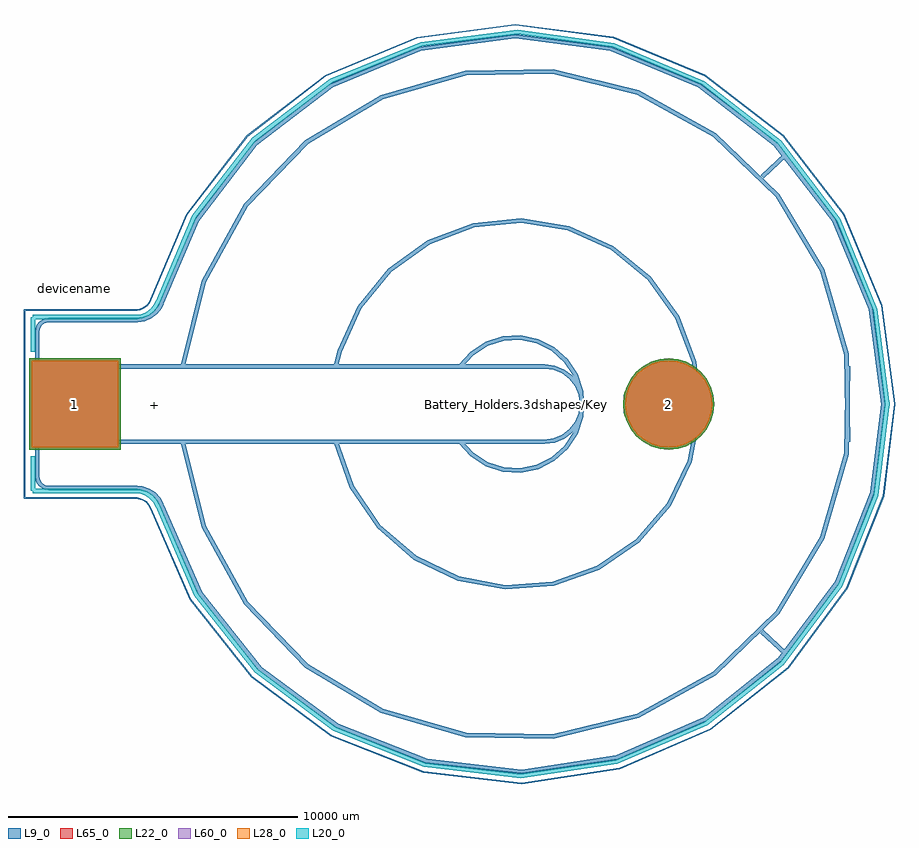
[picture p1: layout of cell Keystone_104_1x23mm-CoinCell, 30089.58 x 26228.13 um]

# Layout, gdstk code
import gdstk
lib = gdstk.Library(unit=1e-6, precision=1e-09)
def R(c, l, rs):  # rectangles x0, y0, x1, y1
    for r in rs: c.add(gdstk.rectangle(r[:2], r[2:], *l))
def P(c, l, *ps):  # polygons
    for p in ps: c.add(gdstk.Polygon(p, *l))
L9_0 = (9, 0)
L20_0 = (20, 0)
L22_0 = (22, 0)
L28_0 = (28, 0)
L60_0 = (60, 0)
L65_0 = (65, 0)

keystone_104_1x23mm_coin = lib.new_cell('Keystone_104_1x23mm-CoinCell')
R(keystone_104_1x23mm_coin, L22_0, [(-1575,-1575,1575,1575)])
P(keystone_104_1x23mm_coin, L22_0, [(22065,0),(22034.737,307.267),(21945.11,602.726),(21799.565,875.023),(21603.693,1113.693),(21365.023,1309.565),(21092.726,1455.11),(20797.267,1544.737),(20490,1575),(20182.733,1544.737),(19887.274,1455.11),(19614.977,1309.565),(19376.307,1113.693),(19180.435,875.023),(19034.89,602.726),(18945.263,307.267),(18915,0),(18945.263,-307.267),(19034.89,-602.726),(19180.435,-875.023),(19376.307,-1113.693),(19614.977,-1309.565),(19887.274,-1455.11),(20182.733,-1544.737),(20490,-1575),(20797.267,-1544.737),(21092.726,-1455.11),(21365.023,-1309.565),(21603.693,-1113.693),(21799.565,-875.023),(21945.11,-602.726),(22034.737,-307.267)])
R(keystone_104_1x23mm_coin, L28_0, [(-1500,-1500,1500,1500)])
P(keystone_104_1x23mm_coin, L28_0, [(21990,0),(21961.178,292.635),(21875.819,574.025),(21737.204,833.355),(21550.66,1060.66),(21323.355,1247.204),(21064.025,1385.819),(20782.635,1471.178),(20490,1500),(20197.365,1471.178),(19915.975,1385.819),(19656.645,1247.204),(19429.34,1060.66),(19242.796,833.355),(19104.181,574.025),(19018.822,292.635),(18990,0),(19018.822,-292.635),(19104.181,-574.025),(19242.796,-833.355),(19429.34,-1060.66),(19656.645,-1247.204),(19915.975,-1385.819),(20197.365,-1471.178),(20490,-1500),(20782.635,-1471.178),(21064.025,-1385.819),(21323.355,-1247.204),(21550.66,-1060.66),(21737.204,-833.355),(21875.819,-574.025),(21961.178,-292.635)])
R(keystone_104_1x23mm_coin, L60_0, [(-1500,-1500,1500,1500)])
P(keystone_104_1x23mm_coin, L60_0, [(21990,0),(21961.178,292.635),(21875.819,574.025),(21737.204,833.355),(21550.66,1060.66),(21323.355,1247.204),(21064.025,1385.819),(20782.635,1471.178),(20490,1500),(20197.365,1471.178),(19915.975,1385.819),(19656.645,1247.204),(19429.34,1060.66),(19242.796,833.355),(19104.181,574.025),(19018.822,292.635),(18990,0),(19018.822,-292.635),(19104.181,-574.025),(19242.796,-833.355),(19429.34,-1060.66),(19656.645,-1247.204),(19915.975,-1385.819),(20197.365,-1471.178),(20490,-1500),(20782.635,-1471.178),(21064.025,-1385.819),(21323.355,-1247.204),(21550.66,-1060.66),(21737.204,-833.355),(21875.819,-574.025),(21961.178,-292.635)])
R(keystone_104_1x23mm_coin, L65_0, [(-1575,-1575,1575,1575)])
P(keystone_104_1x23mm_coin, L65_0, [(22065,0),(22034.737,307.267),(21945.11,602.726),(21799.565,875.023),(21603.693,1113.693),(21365.023,1309.565),(21092.726,1455.11),(20797.267,1544.737),(20490,1575),(20182.733,1544.737),(19887.274,1455.11),(19614.977,1309.565),(19376.307,1113.693),(19180.435,875.023),(19034.89,602.726),(18945.263,307.267),(18915,0),(18945.263,-307.267),(19034.89,-602.726),(19180.435,-875.023),(19376.307,-1113.693),(19614.977,-1309.565),(19887.274,-1455.11),(20182.733,-1544.737),(20490,-1575),(20797.267,-1544.737),(21092.726,-1455.11),(21365.023,-1309.565),(21603.693,-1113.693),(21799.565,-875.023),(21945.11,-602.726),(22034.737,-307.267)])
keystone_104_1x23mm_coin.add(gdstk.FlexPath([(23723.6,7848.6),(24526.4,8600.6)], 149.998, ends="flush", simple_path=True, layer=9, datatype=0))  # L9_0
keystone_104_1x23mm_coin.add(gdstk.FlexPath([(23698.2,-7848.6),(24526.4,-8613.3)], 149.998, ends="flush", simple_path=True, layer=9, datatype=0))  # L9_0
keystone_104_1x23mm_coin.add(gdstk.FlexPath([(-900,2900),(-1003.528,2886.37),(-1100,2846.41),(-1182.843,2782.843),(-1246.41,2700),(-1286.37,2603.528),(-1300,2500)], 149.998, ends="flush", simple_path=True, layer=9, datatype=0))  # L9_0
keystone_104_1x23mm_coin.add(gdstk.FlexPath([(-1300,-2500),(-1286.37,-2603.528),(-1246.41,-2700),(-1182.843,-2782.843),(-1100,-2846.41),(-1003.528,-2886.37),(-900,-2900)], 149.998, ends="flush", simple_path=True, layer=9, datatype=0))  # L9_0
keystone_104_1x23mm_coin.add(gdstk.FlexPath([(0,1300),(0,-1300)], 149.998, ends="flush", simple_path=True, layer=9, datatype=0))  # L9_0
keystone_104_1x23mm_coin.add(gdstk.FlexPath([(16200,-1300),(16536.465,-1255.704),(16850,-1125.833),(17119.239,-919.239),(17325.833,-650),(17455.704,-336.465),(17500,0),(17455.704,336.465),(17325.833,650),(17119.239,919.239),(16850,1125.833),(16536.465,1255.704),(16200,1300)], 149.998, ends="flush", simple_path=True, layer=9, datatype=0))  # L9_0
keystone_104_1x23mm_coin.add(gdstk.FlexPath([(2150,2900),(2382.937,2930.667),(2600,3020.577),(2786.396,3163.604),(2929.423,3350),(2995.723,3492.182)], 149.998, ends="flush", simple_path=True, layer=9, datatype=0))  # L9_0
keystone_104_1x23mm_coin.add(gdstk.FlexPath([(16200,1300),(0,1300)], 149.998, ends="flush", simple_path=True, layer=9, datatype=0))  # L9_0
keystone_104_1x23mm_coin.add(gdstk.FlexPath([(0,-1300),(16200,-1300)], 149.998, ends="flush", simple_path=True, layer=9, datatype=0))  # L9_0
keystone_104_1x23mm_coin.add(gdstk.FlexPath([(-1300,2500),(-1300,-2500)], 149.998, ends="flush", simple_path=True, layer=9, datatype=0))  # L9_0
keystone_104_1x23mm_coin.add(gdstk.FlexPath([(-900,-2900),(2150,-2900)], 149.998, ends="flush", simple_path=True, layer=9, datatype=0))  # L9_0
keystone_104_1x23mm_coin.add(gdstk.FlexPath([(2150,2900),(-900,2900)], 149.998, ends="flush", simple_path=True, layer=9, datatype=0))  # L9_0
keystone_104_1x23mm_coin.add(gdstk.FlexPath([(26680,-1299.999),(26625.293,1715.54),(25791.971,4614.168),(24236.824,7198.348),(22065.832,9291.972),(19426.945,10752.364),(16499.999,11480),(13484.46,11425.293),(10585.832,10591.971),(8001.652,9036.824),(5908.028,6865.832),(4447.636,4226.945),(3720,1300)], 149.998, ends="flush", simple_path=True, layer=9, datatype=0))  # L9_0
keystone_104_1x23mm_coin.add(gdstk.FlexPath([(21531.55,-203.631),(21368.511,1442.033),(20785.099,2989.425),(19821.071,4333.093),(18542.125,5381.468),(17035.418,6063.104),(15403.631,6331.55),(13757.967,6168.512),(12210.574,5585.099),(10866.907,4621.071),(9818.532,3342.125),(9136.895,1835.418),(9000,1300)], 149.998, ends="flush", simple_path=True, layer=9, datatype=0))  # L9_0
keystone_104_1x23mm_coin.add(gdstk.FlexPath([(17495.448,-175.833),(17462.741,424.264),(17275.833,995.448),(16947.46,1498.794),(16500,1900),(15963.947,2171.724),(15375.833,2295.448),(14775.736,2262.742),(14204.552,2075.833),(13701.206,1747.46),(13300,1300)], 149.998, ends="flush", simple_path=True, layer=9, datatype=0))  # L9_0
keystone_104_1x23mm_coin.add(gdstk.FlexPath([(13300,-1300),(13701.206,-1747.46),(14204.552,-2075.833),(14775.736,-2262.742),(15375.833,-2295.448),(15963.947,-2171.724),(16500,-1900),(16947.46,-1498.794),(17275.833,-995.448),(17462.741,-424.264),(17495.448,175.833)], 149.998, ends="flush", simple_path=True, layer=9, datatype=0))  # L9_0
keystone_104_1x23mm_coin.add(gdstk.FlexPath([(9000,-1300),(9547.725,-2860.382),(10480.643,-4225.833),(11735.177,-5303.301),(13225.833,-6019.357),(14851.026,-6325.205),(16500,-6200),(18060.381,-5652.275),(19425.833,-4719.357),(20503.3,-3464.823),(21219.357,-1974.167),(21525.204,-348.974),(21531.55,203.631)], 149.998, ends="flush", simple_path=True, layer=9, datatype=0))  # L9_0
keystone_104_1x23mm_coin.add(gdstk.FlexPath([(-1450,-3000),(2150,-3000)], 149.998, ends="flush", simple_path=True, layer=20, datatype=0))  # L20_0
keystone_104_1x23mm_coin.add(gdstk.FlexPath([(-1450,1800),(-1450,3000)], 149.998, ends="flush", simple_path=True, layer=20, datatype=0))  # L20_0
keystone_104_1x23mm_coin.add(gdstk.FlexPath([(-1450,3000),(2150,3000)], 149.998, ends="flush", simple_path=True, layer=20, datatype=0))  # L20_0
keystone_104_1x23mm_coin.add(gdstk.FlexPath([(-1750,-3250),(-1750,3250)], 50, ends="flush", simple_path=True, layer=9, datatype=0))  # L9_0
keystone_104_1x23mm_coin.add(gdstk.FlexPath([(-1750,-3250),(2150,-3250)], 50, ends="flush", simple_path=True, layer=9, datatype=0))  # L9_0
keystone_104_1x23mm_coin.add(gdstk.FlexPath([(-1750,3250),(2150,3250)], 50, ends="flush", simple_path=True, layer=9, datatype=0))  # L9_0
keystone_104_1x23mm_coin.add(gdstk.FlexPath([(3720,-1300),(4447.636,-4226.946),(5908.028,-6865.833),(8001.653,-9036.825),(10585.833,-10591.972),(13484.461,-11425.293),(16500,-11480),(19426.946,-10752.364),(22065.833,-9291.972),(24236.825,-7198.347),(25791.972,-4614.167),(26625.293,-1715.539),(26680,1299.999)], 149.998, ends="flush", simple_path=True, layer=9, datatype=0))  # L9_0
keystone_104_1x23mm_coin.add(gdstk.FlexPath([(27892.123,-1.64),(27460.074,3283.379),(26192.521,6344.641),(24175.846,8973.527),(21547.482,10990.881),(18486.547,12259.225),(15201.64,12692.123),(11916.621,12260.074),(8855.359,10992.521),(6226.473,8975.846),(4209.119,6347.482),(3000,3500)], 149.998, ends="flush", simple_path=True, layer=9, datatype=0))  # L9_0
keystone_104_1x23mm_coin.add(gdstk.FlexPath([(3000,-3500),(4321.572,-6538.333),(6384.49,-9131.089),(9048.171,-11101.576),(12131.089,-12315.51),(15423.148,-12690.162),(18700,-12200),(21738.333,-10878.428),(24331.089,-8815.51),(26301.576,-6151.829),(27515.51,-3068.911),(27892.123,1.64)], 149.998, ends="flush", simple_path=True, layer=9, datatype=0))  # L9_0
keystone_104_1x23mm_coin.add(gdstk.FlexPath([(2995.723,-3492.182),(2887.237,-3283.781),(2728.509,-3110.56),(2530.356,-2984.323),(2306.283,-2913.673),(2150,-2900)], 149.998, ends="flush", simple_path=True, layer=9, datatype=0))  # L9_0
keystone_104_1x23mm_coin.add(gdstk.FlexPath([(2100,3000),(2307.055,3027.259),(2500,3107.18),(2665.685,3234.315),(2792.82,3400),(2851.754,3526.384)], 149.998, ends="flush", simple_path=True, layer=20, datatype=0))  # L20_0
keystone_104_1x23mm_coin.add(gdstk.FlexPath([(28036.17,-72.312),(27617.504,3252.397),(26352.605,6355.461),(24327.675,9025.411),(21680.709,11080.293),(18592.093,12380.073),(15272.312,12836.17),(11947.603,12417.504),(8844.539,11152.606),(6174.589,9127.675),(4119.706,6480.709),(2850,3500)], 149.998, ends="flush", simple_path=True, layer=20, datatype=0))  # L20_0
keystone_104_1x23mm_coin.add(gdstk.FlexPath([(2851.754,-3526.384),(2755.322,-3341.139),(2614.23,-3187.165),(2438.095,-3074.954),(2238.919,-3012.154),(2100,-3000)], 149.998, ends="flush", simple_path=True, layer=20, datatype=0))  # L20_0
keystone_104_1x23mm_coin.add(gdstk.FlexPath([(2850,-3500),(4176.683,-6577.156),(6254.586,-9206.089),(8942.105,-11207.642),(12056.089,-12445.414),(15384.325,-12835.05),(18700,-12350),(21777.155,-11023.317),(24406.089,-8945.414),(26407.642,-6257.895),(27645.413,-3143.911),(28036.17,72.312)], 149.998, ends="flush", simple_path=True, layer=20, datatype=0))  # L20_0
keystone_104_1x23mm_coin.add(gdstk.FlexPath([(2100,3250),(2242.35,3268.741),(2375,3323.686),(2488.908,3411.092),(2576.313,3525),(2616.83,3611.889)], 50, ends="flush", simple_path=True, layer=9, datatype=0))  # L9_0
keystone_104_1x23mm_coin.add(gdstk.FlexPath([(2616.83,-3611.889),(2550.533,-3484.533),(2453.533,-3378.676),(2332.44,-3301.531),(2195.506,-3258.356),(2100,-3250)], 50, ends="flush", simple_path=True, layer=9, datatype=0))  # L9_0
keystone_104_1x23mm_coin.add(gdstk.FlexPath([(28289.772,8.354),(27841.587,3395.952),(26531.898,6552.121),(24449.96,9261.774),(21737.651,11340.252),(18579.813,12645.911),(15191.646,13089.773),(11804.048,12641.587),(8647.879,11331.899),(5938.226,9249.96),(3859.747,6537.652),(2615,3600)], 50, ends="flush", simple_path=True, layer=9, datatype=0))  # L9_0
keystone_104_1x23mm_coin.add(gdstk.FlexPath([(2615,-3600),(3975.572,-6734.571),(6101.07,-9410.191),(8846.646,-11444.523),(12025.192,-12698.929),(15420.095,-13087.925),(18800,-12585),(21934.57,-11224.427),(24610.191,-9098.929),(26644.523,-6353.354),(27898.929,-3174.808),(28289.772,-8.354)], 50, ends="flush", simple_path=True, layer=9, datatype=0))  # L9_0
keystone_104_1x23mm_coin.add(gdstk.FlexPath([(-1450,-1800),(-1450,-3000)], 149.998, ends="flush", simple_path=True, layer=20, datatype=0))  # L20_0
keystone_104_1x23mm_coin.add(gdstk.Label('Battery_Holders.3dshapes/Keystone_104_1x23mm-CoinCell.wrl', (15240,0), layer=12, texttype=0))
keystone_104_1x23mm_coin.add(gdstk.Label('1', (0,0), layer=28, texttype=0))
keystone_104_1x23mm_coin.add(gdstk.Label('2', (20490,0), layer=28, texttype=0))
keystone_104_1x23mm_coin.add(gdstk.Label('+', (2750,0), layer=9, texttype=0))
keystone_104_1x23mm_coin.add(gdstk.Label('type', (15000,-14000), layer=9, texttype=0))
keystone_104_1x23mm_coin.add(gdstk.Label('devicename', (0,4000), layer=9, texttype=0))

lib.write_gds('Keystone_104_1x23mm-CoinCell.gds')
